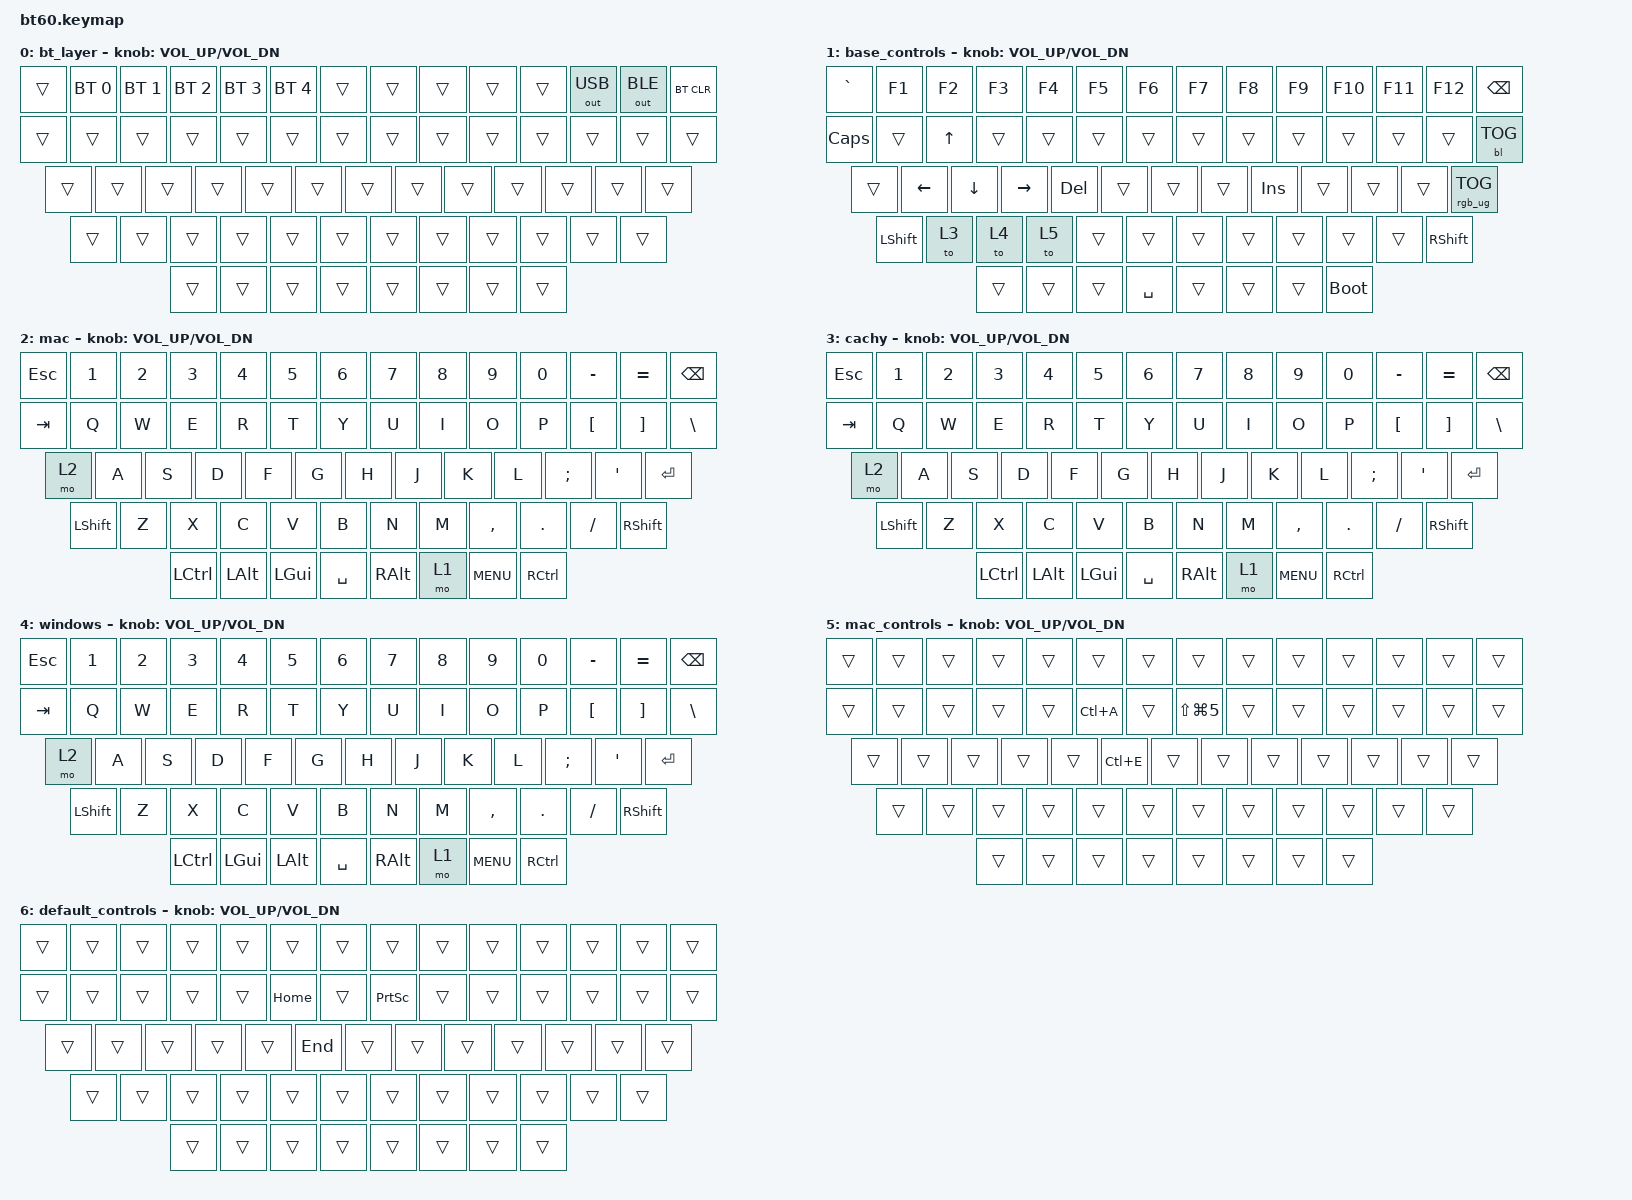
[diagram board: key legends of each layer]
#include <behaviors.dtsi>
#include <dt-bindings/zmk/keys.h>
#include <dt-bindings/zmk/bt.h>
#include <dt-bindings/zmk/rgb.h>
#include <dt-bindings/zmk/backlight.h>
#include <dt-bindings/zmk/outputs.h>

/ {
	keymap {
		compatible = "zmk,keymap";
    	bt_layer {
			// layer 1
			bindings = <
				&trans &bt BT_SEL 0 &bt BT_SEL 1 &bt BT_SEL 2 &bt BT_SEL 3 &bt BT_SEL 4 &trans &trans &trans &trans &trans &out OUT_USB &out OUT_BLE &bt BT_CLR
				&trans &trans &trans &trans &trans &trans &trans &trans &trans &trans &trans &trans &trans &trans
				&trans    &trans &trans &trans &trans &trans &trans &trans &trans &trans &trans  &trans   &trans
				&trans &trans &trans &trans &trans &trans &trans &trans &trans &trans &trans  &trans
				&trans &trans  &trans              &trans                            &trans   &trans   &trans &trans
			>;
			sensor-bindings = <&inc_dec_kp C_VOL_UP C_VOL_DN>;
		};
		base_controls {
			// layer 2
			bindings = <
				&kp GRAVE &kp F1 &kp F2 &kp F3 &kp F4 &kp F5 &kp F6 &kp F7 &kp F8 &kp F9 &kp F10 &kp F11 &kp F12 &kp BSPC
				&kp CLCK &trans &kp UP &trans &trans &trans &trans &trans &trans &trans &trans &trans &trans &bl BL_TOG
				&trans    &kp LEFT &kp DOWN &kp RIGHT &kp DEL &trans &trans &trans &kp INS &trans &trans  &trans   &rgb_ug RGB_TOG
				&kp LSHFT &to 3 &to 4 &to 5 &trans &trans &trans &trans &trans &trans &trans  &kp RSHFT
				&trans &trans  &trans              &kp SPACE                            &trans   &trans   &trans &bootloader
			>;
			sensor-bindings = <&inc_dec_kp C_VOL_UP C_VOL_DN>;
		};
		mac {
			// layer 3
				// ------------------------------------------------------------------------------------------
				// |  `  |  1  |  2  |  3  |  4  |  5  |  6  |  7  |  8  |  9  |  0  |  -  |  =  |   BKSP
				// | TAB  |  Q  |  W  |  E  |  R  |  T  |  Y  |  U  |  I  |  O  |  P  |  [  |  ]  |   |
				// | MO    |  A  |  S  |  D  |  F  |  G  |  H  |  J  |  K  |  L  |  ;  |  '  |     ENTER
				// |  SHIFT   |  Z  |  X  |  C  |  V  |  B  |  N  |  M  |  ,  |  .  | /   |      SHIFT
				// |  CTL  |  ALT  |  MOD  |            SPACE               | ALT | BT    |  MENU    |  CTRL
				// ------------------------------------------------------------------------------------------
			bindings = <

				&kp ESC &kp N1 &kp N2 &kp N3 &kp N4 &kp N5 &kp N6 &kp N7 &kp  N8   &kp  N9 &kp  N0  &kp MINUS &kp EQUAL &kp BSPC
				&kp TAB  &kp Q  &kp W  &kp E  &kp R  &kp T  &kp Y  &kp U  &kp  I    &kp  O  &kp  P   &kp LBKT &kp RBKT   &kp BSLH
				&mo 2  &kp A  &kp S  &kp D  &kp F  &kp G  &kp H  &kp J  &kp  K    &kp  L  &kp SEMI &kp SQT            &kp RET
				&kp LSHFT  &kp Z  &kp X  &kp C  &kp V  &kp B  &kp N  &kp M  &kp COMMA &kp DOT &kp FSLH                   &kp RSHFT
				&kp LCTRL &kp LALT &kp LGUI            &kp SPACE                          &kp RALT  &mo 1 &kp C_MENU    &kp RCTRL
			>;
			sensor-bindings = <&inc_dec_kp C_VOL_UP C_VOL_DN>;
		};
		cachy {
			// layer 4
				// ------------------------------------------------------------------------------------------
				// |  `  |  1  |  2  |  3  |  4  |  5  |  6  |  7  |  8  |  9  |  0  |  -  |  =  |   BKSP
				// | TAB  |  Q  |  W  |  E  |  R  |  T  |  Y  |  U  |  I  |  O  |  P  |  [  |  ]  |   |
				// | MO    |  A  |  S  |  D  |  F  |  G  |  H  |  J  |  K  |  L  |  ;  |  '  |     ENTER
				// |  SHIFT   |  Z  |  X  |  C  |  V  |  B  |  N  |  M  |  ,  |  .  | /   |      SHIFT
				// |  CTL  |  ALT  |  MOD  |            SPACE               | ALT | BT    |  MENU    |  CTRL
				// ------------------------------------------------------------------------------------------
			bindings = <

				&kp ESC &kp N1 &kp N2 &kp N3 &kp N4 &kp N5 &kp N6 &kp N7 &kp  N8   &kp  N9 &kp  N0  &kp MINUS &kp EQUAL &kp BSPC
				&kp TAB  &kp Q  &kp W  &kp E  &kp R  &kp T  &kp Y  &kp U  &kp  I    &kp  O  &kp  P   &kp LBKT &kp RBKT   &kp BSLH
				&mo 2  &kp A  &kp S  &kp D  &kp F  &kp G  &kp H  &kp J  &kp  K    &kp  L  &kp SEMI &kp SQT            &kp RET
				&kp LSHFT  &kp Z  &kp X  &kp C  &kp V  &kp B  &kp N  &kp M  &kp COMMA &kp DOT &kp FSLH                   &kp RSHFT
				&kp LCTRL &kp LALT &kp LGUI            &kp SPACE                          &kp RALT  &mo 1 &kp C_MENU    &kp RCTRL
			>;
			sensor-bindings = <&inc_dec_kp C_VOL_UP C_VOL_DN>;
		};
		windows {
			// layer 5
				// ------------------------------------------------------------------------------------------
				// |  `  |  1  |  2  |  3  |  4  |  5  |  6  |  7  |  8  |  9  |  0  |  -  |  =  |   BKSP
				// | TAB  |  Q  |  W  |  E  |  R  |  T  |  Y  |  U  |  I  |  O  |  P  |  [  |  ]  |   |
				// |  MO   |  A  |  S  |  D  |  F  |  G  |  H  |  J  |  K  |  L  |  ;  |  '  |     ENTER
				// |  SHIFT   |  Z  |  X  |  C  |  V  |  B  |  N  |  M  |  ,  |  .  | /   |      SHIFT
				// |  CTL  |  MOD  |  ALT  |            SPACE               | ALT | BT    |  MENU    |  CTRL
				// ------------------------------------------------------------------------------------------
			bindings = <

				&kp ESC &kp N1 &kp N2 &kp N3 &kp N4 &kp N5 &kp N6 &kp N7 &kp  N8   &kp  N9 &kp  N0  &kp MINUS &kp EQUAL &kp BSPC
				&kp TAB  &kp Q  &kp W  &kp E  &kp R  &kp T  &kp Y  &kp U  &kp  I    &kp  O  &kp  P   &kp LBKT &kp RBKT   &kp BSLH
				&mo 2  &kp A  &kp S  &kp D  &kp F  &kp G  &kp H  &kp J  &kp  K    &kp  L  &kp SEMI &kp SQT            &kp RET
				&kp LSHFT  &kp Z  &kp X  &kp C  &kp V  &kp B  &kp N  &kp M  &kp COMMA &kp DOT &kp FSLH                   &kp RSHFT
				&kp LCTRL &kp LGUI &kp LALT            &kp SPACE                          &kp RALT  &mo 1 &kp C_MENU    &kp RCTRL
			>;
			sensor-bindings = <&inc_dec_kp C_VOL_UP C_VOL_DN>;
		};
		mac_controls {
			// layer 6
			bindings = <
				&trans &trans &trans &trans &trans &trans &trans &trans &trans &trans &trans &trans &trans &trans
				&trans &trans &trans &trans &trans &kp LC(A) &trans &kp LS(LG(N5)) &trans &trans &trans &trans &trans &trans
				&trans    &trans &trans &trans &trans &kp LC(E) &trans &trans &trans &trans &trans  &trans   &trans
				&trans &trans &trans &trans &trans &trans &trans &trans &trans &trans &trans  &trans
				&trans &trans  &trans              &trans                            &trans   &trans   &trans &trans
			>;
			sensor-bindings = <&inc_dec_kp C_VOL_UP C_VOL_DN>;
		};
		default_controls {
			// layer 7
			bindings = <
				&trans &trans &trans &trans &trans &trans &trans &trans &trans &trans &trans &trans &trans &trans
				&trans &trans &trans &trans &trans &kp HOME &trans &kp PSCRN &trans &trans &trans &trans &trans &trans
				&trans    &trans &trans &trans &trans &kp END &trans &trans &trans &trans &trans  &trans   &trans
				&trans &trans &trans &trans &trans &trans &trans &trans &trans &trans &trans  &trans
				&trans &trans  &trans              &trans                            &trans   &trans   &trans &trans
			>;
			sensor-bindings = <&inc_dec_kp C_VOL_UP C_VOL_DN>;
		};
	};
	conditional_layers {
		compatible = "zmk,conditional-layers";
		raise_mac_condition = {
			if-layers = <2 3>;
			then-layer = <6>;
		};
		raise_cachy_condition = {
			if-layers = <2 4>;
			then-layer = <7>;
		};
		raise_windows_condition = {
			if-layers = <2 5>;
			then-layer = <7>;
		};
	};
};
